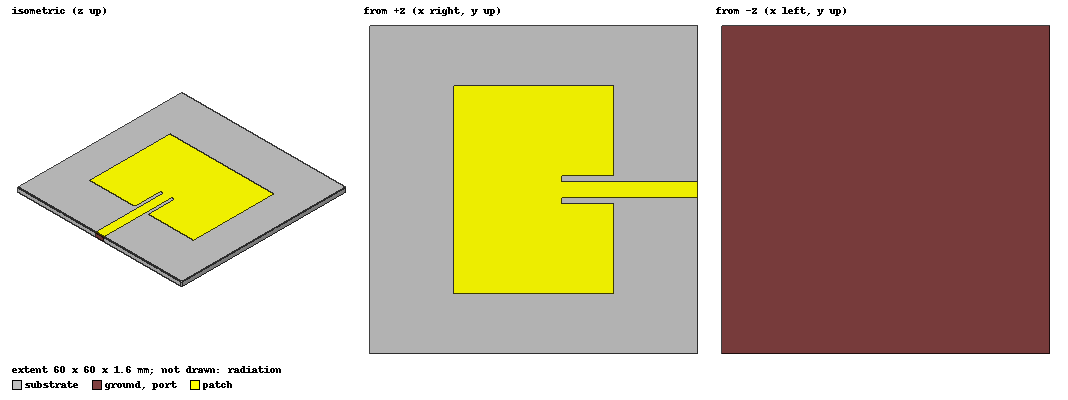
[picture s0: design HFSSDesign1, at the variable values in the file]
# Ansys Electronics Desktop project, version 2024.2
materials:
  vacuum: permittivity=1
  FR4_epoxy: permittivity=4.4 dielectric_loss_tangent=0.02
  air: permittivity=1.0006 permeability=1.0000004

design HFSSDesign1 (HFSS, HFSS Terminal Network, model units mm)
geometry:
  ground = rectangle(corner=(-30mm, 30mm, 0mm), x_size=60mm, y_size=60mm)
  coordinate_system RelativeCS1 = origin=(0mm, 60mm, 0mm) x=(1mm, 0mm, 0mm) y=(0mm, 1mm, 0mm)
  substrate [FR4_epoxy] = box(corner=(-30mm, 30mm, 0mm), size=(60mm, -60mm, 1.6mm)) in RelativeCS1
  patch = rectangle(corner=((-29.4/2) mm, (-38/2) mm, 1.6mm), x_size=29.4mm, y_size=38mm) in RelativeCS1
  feed = rectangle(corner=(0mm, -1.5mm, 1.6mm), x_size=30mm, y_size=3mm) in RelativeCS1
  cut = rectangle(corner=(14.7mm, -2.5mm, 1.6mm), x_size=-9.5mm, y_size=5mm) in RelativeCS1
  patch.subtract(cut)
  patch.unite(feed)
  port = rectangle(corner=(30mm, -1.5mm, 1.6mm), y_size=3mm, z_size=-1.6mm) in RelativeCS1
  radiation [air] = box(corner=(-40mm, -40mm, 20mm), size=(80mm, 80mm, -40mm)) in RelativeCS1
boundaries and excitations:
  PerfE1: Perfect E Objects=[patch, ground]
  Rad1: Radiation Objects=radiation
  1: Lumped Port Objects=port LumpedPortType=Modal Modes{Mode1{IntLine{(30, 60, 0) -> (30, 60, 1.6)} CharImp=Zpi RenormImp=50ohm}} Impedance=50ohm
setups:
  Setup1: HfssDriven Frequency=2.4GHz MaxDeltaS=0.02 MaximumPasses=20 MinimumPasses=1 MinimumConvergedPasses=1 PercentRefinement=30 BasisOrder=1 PortAccuracy=2 DrivenSolverType="Direct Solver"
    sweep Sweep: 1GHz to 3GHz step 0.01GHz; Type=Fast SaveFields
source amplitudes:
  1:1: 1V 0deg
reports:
  S Parameter Plot 1: dB(S(1,1)) vs Freq on Setup1 : Sweep
